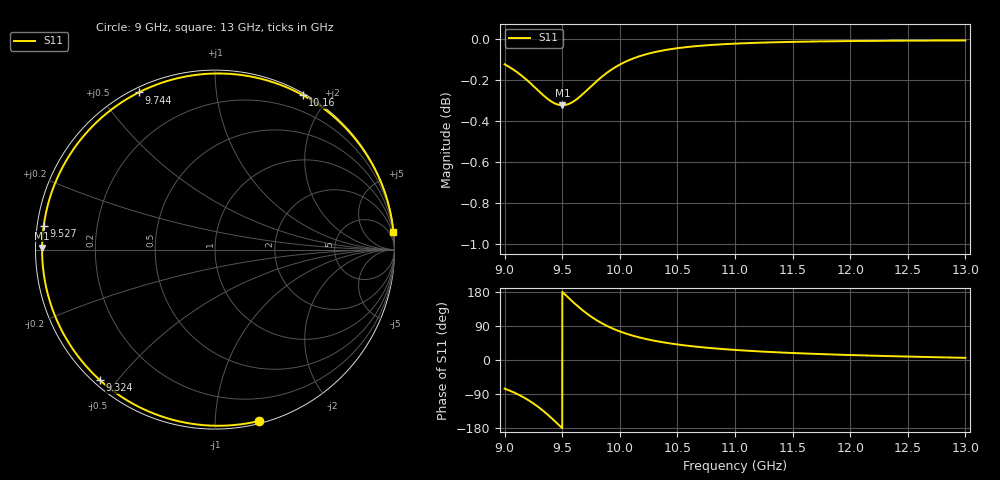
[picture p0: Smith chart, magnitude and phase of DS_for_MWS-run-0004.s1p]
! TOUCHSTONE file generated by CST DESIGN STUDIO
! Date and time: Tue Feb  4 18:14:31 2025
! Project name: C:\Work\MatlabApps\UnitCellOptimizationMatlab\CST\unitcell.cst
! Tree item: Tasks\Sweep1\SPara1\S-Parameters
! Header version: 2024
! Port assignment regex: !\s*Touchstone port\s*([0-9]+)\s*=\s*(CST MWS port|CST DES external port|CST DES block port)\s*(.+)\s* \(\"(.*)\"\)(\s*mode\s*([0-9]+))?.*
! Touchstone port assignment:
! Touchstone port 1 = CST DES external port 1 ("")
# GHz S MA R 50
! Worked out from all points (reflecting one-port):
!   4001 points, 9 GHz to 13 GHz, reference 50 ohm
!   lowest |S11| = -0.3 dB at 9.502 GHz (marker M1), VSWR 53.75, Z = 0.93 + j0.228 ohm
!   phase of S11 starts at -76 deg and turns -279 deg over the sweep
!   S11 on the Smith chart (normalised r, x): 9 GHz: 0.02, -1.29; 9.324 GHz: 0.02, -0.45; 9.527 GHz: 0.02, +0.07; 9.744 GHz: 0.02, +0.63; 10.16 GHz: 0.02, +1.72; 13 GHz: 0, +20
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9  0.9858 -75.5
9.085  0.9825 -86.2
9.187  0.9775 -102.4
9.258  0.9734 -116.3
9.324  0.9695 -131.4
9.371  0.967 -143.4
9.42  0.9649 -156.8
9.461  0.9638 -168.5
9.5  0.9635 -179.9
9.502  0.9635 179.5
9.527  0.9636 172.2
9.58  0.9648 156.9
9.64  0.9674 140.6
9.691  0.9702 127.9
9.744  0.9733 115.9
9.796  0.9763 105.5
9.854  0.9794 95.3
9.926  0.9828 84.6
10  0.9856 75.4
10.159  0.99 60.4
10.314  0.9927 50.0
10.5  0.9947 41.0
10.722  0.9962 33.4
11  0.9973 26.5
11.5  0.9982 18.4
12  0.9987 13.1
12.5  0.9989 9.0
13  0.999 5.7
